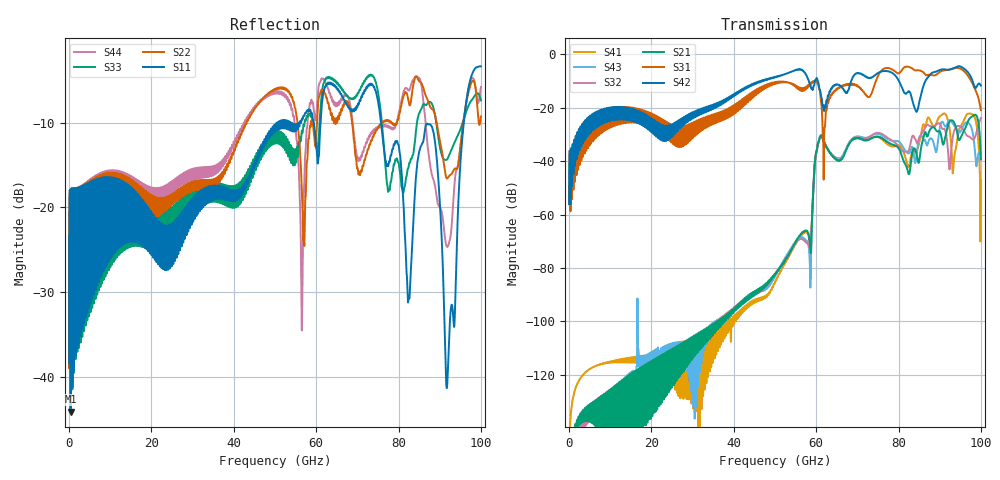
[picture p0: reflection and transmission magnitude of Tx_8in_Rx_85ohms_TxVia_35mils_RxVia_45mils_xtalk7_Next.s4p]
! Info: Touchstone file created by Circ.  Input file=Tx_8in_Rx_85ohms_TxVia_35mils_RxVia_45mils.circ
# Hz S RI R 50
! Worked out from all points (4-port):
!   10000 points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, 10 MHz to 100 GHz, reference 50 ohm
!   strongest paths, dB at 10 MHz, 25.01 GHz, 50.01 GHz, 75.01 GHz, 100 GHz:
!     S42: -56.0, -26.5, -8.4, -7.0, -11.7
!     S31: -56.1, -26.3, -10.4, -8.2, -20.8
!     S21: -175.3, -118.1, -82.5, -30.8, -39.3
!     S32: -179.9, -112.4, -82.6, -29.4, -23.8
!     S43: -174.9, -111.6, -83.1, -29.8, -37.0
!     S41: -162.0, -121.9, -85.4, -31.0, -47.3
!   lowest |S11| = -44.1 dB at 400 MHz (marker M1), VSWR 1.01, Z = 49.4 - j0.172 ohm
!   |S11| at or under -10 dB: start of sweep to 50.59 GHz; 53.81 GHz to 56.03 GHz (2.217 GHz wide, 4.04 % of centre); 75.76 GHz to 95.85 GHz (20.09 GHz wide, 23.4 % of centre) (the widest 3 of 13)
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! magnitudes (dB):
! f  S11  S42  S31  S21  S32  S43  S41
! 10 MHz  -38.4  -56.0  -56.1  -175.3  -179.9  -174.9  -162.0
! 400 MHz  -44.1  -41.4  -41.5  -148.6  -153.0  -148.4  -135.1
! 51.48 GHz  -9.9  -7.9  -10.2  -79.1  -79.2  -79.1  -81.1
! 58.39 GHz  -8.6  -10.9  -11.1  -69.5  -72.4  -75.7  -71.2
! 61.12 GHz  -9.7  -15.0  -17.1  -30.3  -30.4  -30.6  -30.6
! 91.77 GHz  -41.3  -5.7  -5.9  -28.0  -32.2  -26.1  -23.5
! 100 GHz  -3.3  -11.7  -20.8  -39.3  -23.8  -37.0  -47.3
